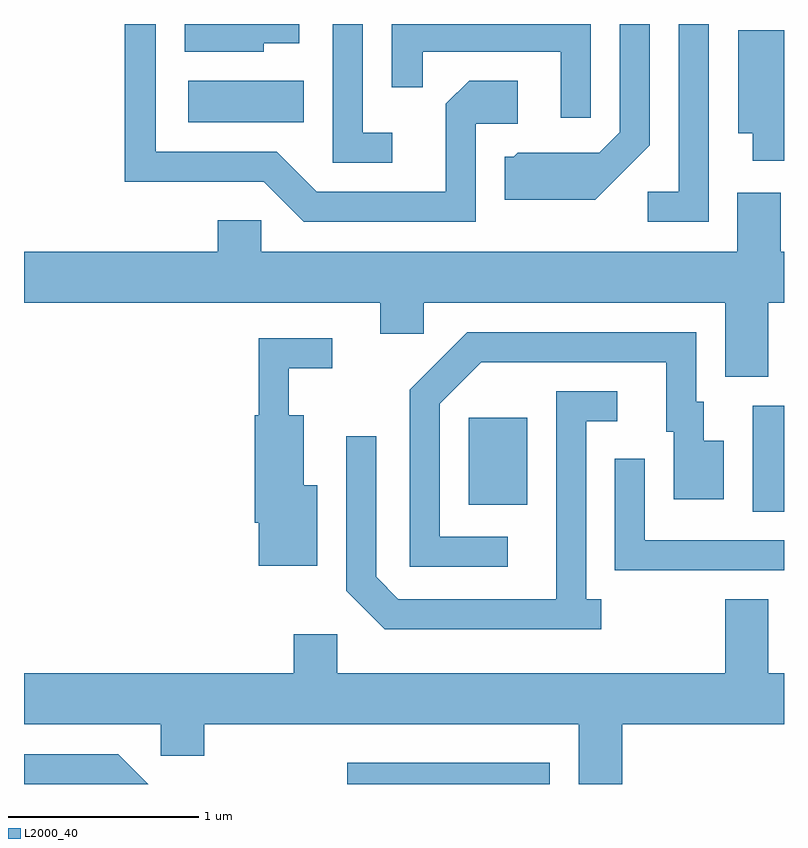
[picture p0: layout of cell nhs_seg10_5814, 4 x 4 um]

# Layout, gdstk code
import gdstk
lib = gdstk.Library(unit=1e-6, precision=1e-09)
def R(c, l, rs):  # rectangles x0, y0, x1, y1
    for r in rs: c.add(gdstk.rectangle(r[:2], r[2:], *l))
def P(c, l, *ps):  # polygons
    for p in ps: c.add(gdstk.Polygon(p, *l))
L2000_40 = (2000, 40)

nhs_seg10_5814 = lib.new_cell('nhs_seg10_5814')
R(nhs_seg10_5814, L2000_40, [(359.311,2082.522,360.379,2082.634), (361.446,2083.956,361.611,2084.514), (359.951,2083.991,360.259,2084.449), (358.476,2086.006,359.084,2086.224)])
P(nhs_seg10_5814, L2000_40, [(361.214,2086.522),(361.056,2086.522),(361.056,2085.639),(360.893,2085.639),(360.893,2085.481),(361.214,2085.481)],
  [(359.989,2085.996),(360.209,2085.996),(360.209,2086.224),(359.954,2086.224),(359.831,2086.102),(359.831,2085.639),(359.152,2085.639),(358.942,2085.849),(358.304,2085.849),(358.304,2086.522),(358.141,2086.522),(358.141,2085.691),(358.874,2085.691),(359.084,2085.481),(359.989,2085.481)],
  [(359.548,2085.949),(359.394,2085.949),(359.394,2086.522),(359.236,2086.522),(359.236,2085.791),(359.548,2085.791)],
  [(360.594,2086.522),(359.546,2086.522),(359.546,2086.188),(359.709,2086.188),(359.709,2086.376),(360.436,2086.376),(360.436,2086.028),(360.594,2086.028)],
  [(358.874,2086.421),(359.059,2086.421),(359.059,2086.522),(358.456,2086.522),(358.456,2086.376),(358.874,2086.376)],
  [(360.904,2085.884),(360.904,2086.522),(360.746,2086.522),(360.746,2085.952),(360.639,2085.844),(360.209,2085.844),(360.189,2085.824),(360.141,2085.824),(360.141,2085.596),(360.617,2085.596)],
  [(361.611,2086.489),(361.371,2086.489),(361.371,2085.946),(361.446,2085.946),(361.446,2085.801),(361.611,2085.801)],
  [(361.529,2085.056),(361.611,2085.056),(361.611,2085.324),(361.594,2085.324),(361.594,2085.634),(361.366,2085.634),(361.366,2085.324),(358.859,2085.324),(358.859,2085.489),(358.631,2085.489),(358.631,2085.324),(357.611,2085.324),(357.611,2085.056),(359.486,2085.056),(359.486,2084.891),(359.714,2084.891),(359.714,2085.056),(361.301,2085.056),(361.301,2084.666),(361.529,2084.666)],
  [(360.158,2083.824),(359.799,2083.824),(359.799,2084.524),(360.017,2084.741),(360.991,2084.741),(360.991,2084.376),(361.031,2084.376),(361.031,2084.021),(361.294,2084.021),(361.294,2084.329),(361.189,2084.329),(361.189,2084.534),(361.149,2084.534),(361.149,2084.899),(359.944,2084.899),(359.641,2084.597),(359.641,2083.666),(360.158,2083.666)],
  [(359.154,2084.094),(359.084,2084.094),(359.084,2084.464),(359.004,2084.464),(359.004,2084.711),(359.233,2084.711),(359.233,2084.869),(358.846,2084.869),(358.846,2084.464),(358.826,2084.464),(358.826,2083.896),(358.846,2083.896),(358.846,2083.671),(359.154,2083.671)],
  [(360.648,2083.494),(360.569,2083.494),(360.569,2084.431),(360.733,2084.431),(360.733,2084.589),(360.411,2084.589),(360.411,2083.494),(359.582,2083.494),(359.464,2083.612),(359.464,2084.353),(359.306,2084.353),(359.306,2083.539),(359.509,2083.336),(360.648,2083.336)],
  [(361.611,2083.804),(360.879,2083.804),(360.879,2084.233),(360.721,2084.233),(360.721,2083.646),(361.611,2083.646)],
  [(360.759,2082.836),(361.611,2082.836),(361.611,2083.104),(361.529,2083.104),(361.529,2083.494),(361.301,2083.494),(361.301,2083.104),(359.259,2083.104),(359.259,2083.309),(359.031,2083.309),(359.031,2083.104),(357.611,2083.104),(357.611,2082.836),(358.331,2082.836),(358.331,2082.671),(358.559,2082.671),(358.559,2082.836),(360.531,2082.836),(360.531,2082.522),(360.759,2082.522)],
  [(358.107,2082.679),(357.611,2082.679),(357.611,2082.522),(358.264,2082.522)])

lib.write_gds('nhs_seg10_5814.gds')
